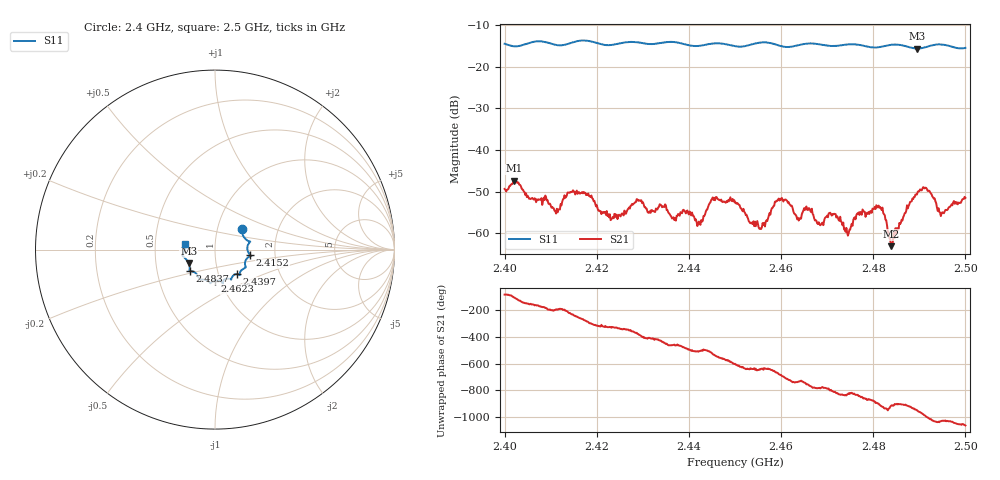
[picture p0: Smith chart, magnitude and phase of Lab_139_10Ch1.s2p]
# Hz S RI R 50
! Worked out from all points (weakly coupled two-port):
!   601 points, 2.4 GHz to 2.5 GHz, reference 50 ohm
!   highest |S21| = -47.36 dB at 2.402 GHz (marker M1); lowest = -63.1 dB at 2.4838 GHz (marker M2)
!   lowest |S11| = -15.7 dB at 2.4895 GHz (marker M3), VSWR 1.39, Z = 36.8 - j5.72 ohm
!   |S11| at or under -10 dB: start of sweep to end of sweep
!   S12 and S22 are empty: the file has one direction only
!   S11 on the Smith chart (normalised r, x): 2.4 GHz: 1.31, +0.31; 2.4152 GHz: 1.48, -0.09; 2.4397 GHz: 1.22, -0.34; 2.4623 GHz: 0.94, -0.34; 2.4837 GHz: 0.74, -0.18; 2.5 GHz: 0.72, +0.05
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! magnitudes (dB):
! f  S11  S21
! 2.4 GHz  -14.5  -49.3
! 2.402 GHz  -15.1  -47.4
! 2.4113 GHz  -14.8  -54.1
! 2.4152 GHz  -14.1  -50.0
! 2.4167 GHz  -13.7  -50.3
! 2.4232 GHz  -14.8  -56.6
! 2.4333 GHz  -14.4  -53.8
! 2.4397 GHz  -14.8  -54.5
! 2.4423 GHz  -15.0  -57.7
! 2.45 GHz  -15.1  -52.6
! 2.4555 GHz  -14.2  -58.8
! 2.4592 GHz  -14.8  -52.2
! 2.4623 GHz  -15.2  -53.3
! 2.4667 GHz  -14.4  -54.1
! 2.4745 GHz  -14.7  -60.5
! 2.4812 GHz  -15.3  -53.3
! 2.4833 GHz  -14.8  -59.7
! 2.4837 GHz  -14.8  -61.2
! 2.4838 GHz  -14.8  -63.1
! 2.4895 GHz  -15.7  -50.7
! 2.4948 GHz  -14.7  -55.2
! 2.5 GHz  -15.5  -51.5
